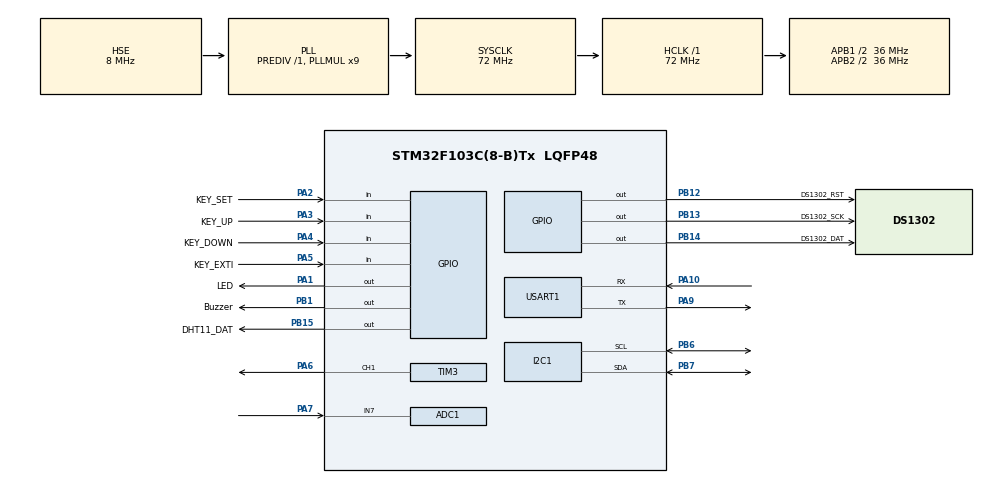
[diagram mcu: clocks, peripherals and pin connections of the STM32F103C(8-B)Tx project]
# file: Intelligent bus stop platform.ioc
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ADC1.Channel-2\#ChannelRegularConversion=ADC_CHANNEL_7
ADC1.NbrOfConversionFlag=1
ADC1.Rank-2\#ChannelRegularConversion=1
ADC1.SamplingTime-2\#ChannelRegularConversion=ADC_SAMPLETIME_1CYCLE_5
ADC1.master=1
Mcu.Family=STM32F1
Mcu.Name=STM32F103C(8-B)Tx
Mcu.Package=LQFP48
NVIC.ADC1_2_IRQn=true\:0\:0\:false\:false\:true\:true\:true\:true
NVIC.PriorityGroup=NVIC_PRIORITYGROUP_4
NVIC.TIM2_IRQn=true\:0\:0\:true\:false\:true\:true\:true\:true
NVIC.TIM3_IRQn=true\:0\:0\:false\:false\:true\:true\:true\:true
NVIC.USART1_IRQn=true\:0\:0\:false\:false\:true\:true\:true\:true
PA1.GPIO_Label=LED
PA1.Signal=GPIO_Output
PA10.Mode=Asynchronous
PA10.Signal=USART1_RX
PA13.Mode=Serial_Wire
PA13.Signal=SYS_JTMS-SWDIO
PA14.Mode=Serial_Wire
PA14.Signal=SYS_JTCK-SWCLK
PA2.GPIO_Label=KEY_SET
PA2.GPIO_PuPd=GPIO_PULLUP
PA2.Signal=GPIO_Input
PA3.GPIO_Label=KEY_UP
PA3.GPIO_PuPd=GPIO_PULLUP
PA3.Signal=GPIO_Input
PA4.GPIO_Label=KEY_DOWN
PA4.GPIO_PuPd=GPIO_PULLUP
PA4.Signal=GPIO_Input
PA5.GPIO_Label=KEY_EXTI
PA5.GPIO_PuPd=GPIO_PULLUP
PA5.Signal=GPIO_Input
PA6.Signal=S_TIM3_CH1
PA7.Signal=ADCx_IN7
PA9.Mode=Asynchronous
PA9.Signal=USART1_TX
PB1.GPIO_Label=Buzzer
PB1.GPIO_ModeDefaultOutputPP=GPIO_MODE_OUTPUT_PP
PB1.GPIO_PuPd=GPIO_NOPULL
PB1.PinState=GPIO_PIN_SET
PB1.Signal=GPIO_Output
PB12.GPIO_Label=DS1302_RST
PB12.Signal=GPIO_Output
PB13.GPIO_Label=DS1302_SCK
PB13.Signal=GPIO_Output
PB14.GPIO_Label=DS1302_DAT
PB14.GPIO_ModeDefaultOutputPP=GPIO_MODE_OUTPUT_OD
PB14.GPIO_PuPd=GPIO_NOPULL
PB14.Signal=GPIO_Output
PB15.GPIO_Label=DHT11_DAT
PB15.GPIO_ModeDefaultOutputPP=GPIO_MODE_OUTPUT_OD
PB15.GPIO_PuPd=GPIO_PULLUP
PB15.Signal=GPIO_Output
PB6.Mode=I2C
PB6.Signal=I2C1_SCL
PB7.Mode=I2C
PB7.Signal=I2C1_SDA
PD0-OSC_IN.Mode=HSE-External-Oscillator
PD0-OSC_IN.Signal=RCC_OSC_IN
PD1-OSC_OUT.Mode=HSE-External-Oscillator
PD1-OSC_OUT.Signal=RCC_OSC_OUT
ProjectManager.HeapSize=0x200
ProjectManager.StackSize=0x400
ProjectManager.TargetToolchain=MDK-ARM V5.32
RCC.ADCPresc=RCC_ADCPCLK2_DIV4
RCC.AHBFreq_Value=72000000
RCC.APB1CLKDivider=RCC_HCLK_DIV2
RCC.APB1Freq_Value=36000000
RCC.APB1TimFreq_Value=72000000
RCC.APB2CLKDivider=RCC_HCLK_DIV2
RCC.APB2Freq_Value=36000000
RCC.APB2TimFreq_Value=72000000
RCC.HCLKFreq_Value=72000000
RCC.PLLMUL=RCC_PLL_MUL9
RCC.PLLSourceVirtual=RCC_PLLSOURCE_HSE
RCC.SYSCLKFreq_VALUE=72000000
RCC.SYSCLKSource=RCC_SYSCLKSOURCE_PLLCLK
RCC.USBFreq_Value=72000000
SH.ADCx_IN7.0=ADC1_IN7,IN7
SH.S_TIM3_CH1.0=TIM3_CH1,PWM Generation1 CH1
TIM2.AutoReloadPreload=TIM_AUTORELOAD_PRELOAD_ENABLE
TIM2.Period=10-1
TIM2.Prescaler=7200-1
TIM2.TIM_MasterOutputTrigger=TIM_TRGO_UPDATE
TIM3.Channel-PWM\ Generation1\ CH1=TIM_CHANNEL_1
TIM3.OCPolarity_1=TIM_OCPOLARITY_LOW
TIM3.Period=65534
TIM3.Prescaler=72-1
USART1.VirtualMode=VM_ASYNC
VP_TIM2_VS_ClockSourceINT.Mode=Internal
VP_TIM3_VS_ClockSourceINT.Mode=Internal
board=custom

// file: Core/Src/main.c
/* USER CODE BEGIN Header */
/**
  ******************************************************************************
  * @file           : main.c
  * @brief          : Main program body
  ******************************************************************************
  * @attention
  *
  * Copyright (c) 2026 STMicroelectronics.
  * All rights reserved.
  *
  * This software is licensed under terms that can be found in the LICENSE file
  * in the root directory of this software component.
  * If no LICENSE file comes with this software, it is provided AS-IS.
  *
  ******************************************************************************
  */
/* USER CODE END Header */
#include "main.h"
#include "adc.h"
#include "i2c.h"
#include "tim.h"
#include "usart.h"
#include "gpio.h"

/* USER CODE BEGIN Includes */
#include "OLED.h"
#include "bus_info.h"
#include "menu.h"
#include "setting.h"
#include "ds1302.h"
#include "DHT11.h"
#include "bluetooth.h"
#include <stdio.h>
#include <string.h>
/* USER CODE END Includes */

void SystemClock_Config(void);

int main(void)
{

  /* USER CODE BEGIN 1 */
	uint8_t	buf[8]={1,26,2,24,11,44,8,1};
	int menu2;
  /* USER CODE END 1 */

  /* MCU Configuration--------------------------------------------------------*/

  /* Reset of all peripherals, Initializes the Flash interface and the Systick. */
  HAL_Init();

  /* Configure the system clock */
  SystemClock_Config();

  /* Initialize all configured peripherals */
  MX_GPIO_Init();
  MX_I2C1_Init();
  MX_TIM2_Init();
  MX_TIM3_Init();
  MX_USART1_UART_Init();
  MX_ADC1_Init();
  /* USER CODE BEGIN 2 */
	HAL_Delay(20);
	OLED_Init();
	DWT_Delay_Init();
	DS1302_Init();
	DS1302_WriteTime(buf);/*写入时间*/
	DHT11_Init();/*初始化DHT11*/

	HAL_TIM_Base_Start_IT(&htim2);
	// 启动TIM3的PWM输出，但保持灯关闭状态
	HAL_TIM_PWM_Start(&htim3, TIM_CHANNEL_1);
	// 确保灯在启动时是关闭的
	__HAL_TIM_SET_COMPARE(&htim3, TIM_CHANNEL_1, 0);

	// 初始化蓝牙模块
	BT_Init();

  /* USER CODE END 2 */

  /* Infinite loop */
  /* USER CODE BEGIN WHILE */
  while (1)
    {
        if (current_menu_state == MAIN_MENU)
        {
            menu2 = menu1();
            if (menu2 == 1)
            {
                menu2_setting();
            }
        }
        else if (current_menu_state == SETTING_MENU)
        {
            menu2_setting();
        }
        else if (current_menu_state == TIME_SETTING)
        {
            TimeSetting_Menu();
        }
        else if (current_menu_state == BUS_SETTING)
        {
            BusSetting_Menu();
        }
        else if (current_menu_state == LIGHT_SETTING)
        {
            LightSetting_Menu();
        }

        // 处理蓝牙查询
        BT_Process();

    /* USER CODE END WHILE */

  }
}

void SystemClock_Config(void)
{
  RCC_OscInitTypeDef RCC_OscInitStruct = {0};
  RCC_ClkInitTypeDef RCC_ClkInitStruct = {0};
  RCC_PeriphCLKInitTypeDef PeriphClkInit = {0};

  /** Initializes the RCC Oscillators according to the specified parameters
  * in the RCC_OscInitTypeDef structure.
  */
  RCC_OscInitStruct.OscillatorType = RCC_OSCILLATORTYPE_HSE;
  RCC_OscInitStruct.HSEState = RCC_HSE_ON;
  RCC_OscInitStruct.HSEPredivValue = RCC_HSE_PREDIV_DIV1;
  RCC_OscInitStruct.HSIState = RCC_HSI_ON;
  RCC_OscInitStruct.PLL.PLLState = RCC_PLL_ON;
  RCC_OscInitStruct.PLL.PLLSource = RCC_PLLSOURCE_HSE;
  RCC_OscInitStruct.PLL.PLLMUL = RCC_PLL_MUL9;
  if (HAL_RCC_OscConfig(&RCC_OscInitStruct) != HAL_OK)
  {
    Error_Handler();
  }

  /** Initializes the CPU, AHB and APB buses clocks
  */
  RCC_ClkInitStruct.ClockType = RCC_CLOCKTYPE_HCLK|RCC_CLOCKTYPE_SYSCLK
                              |RCC_CLOCKTYPE_PCLK1|RCC_CLOCKTYPE_PCLK2;
  RCC_ClkInitStruct.SYSCLKSource = RCC_SYSCLKSOURCE_PLLCLK;
  RCC_ClkInitStruct.AHBCLKDivider = RCC_SYSCLK_DIV1;
  RCC_ClkInitStruct.APB1CLKDivider = RCC_HCLK_DIV2;
  RCC_ClkInitStruct.APB2CLKDivider = RCC_HCLK_DIV2;

  if (HAL_RCC_ClockConfig(&RCC_ClkInitStruct, FLASH_LATENCY_2) != HAL_OK)
  {
    Error_Handler();
  }
  PeriphClkInit.PeriphClockSelection = RCC_PERIPHCLK_ADC;
  PeriphClkInit.AdcClockSelection = RCC_ADCPCLK2_DIV4;
  if (HAL_RCCEx_PeriphCLKConfig(&PeriphClkInit) != HAL_OK)
  {
    Error_Handler();
  }
}

void Error_Handler(void)
{
  __disable_irq();
  while (1)
  {
  }
}
